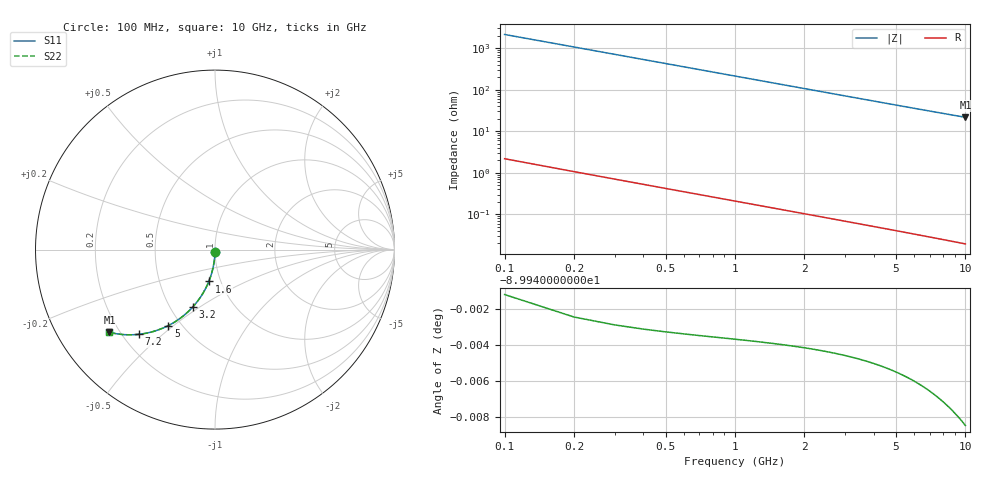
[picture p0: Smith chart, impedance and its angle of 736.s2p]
# Hz S RI R 50.00
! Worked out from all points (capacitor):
!   100 points, 100 MHz to 10 GHz, reference 50 ohm
!   read as one part in shunt: C = 749 fF near 100 MHz
!   lowest |Z| = 21.6 ohm at 10 GHz (marker M1)
!   S11 on the Smith chart (normalised r, x): 100 MHz: 1.00, -0.02; 1.6 GHz: 0.88, -0.32; 3.2 GHz: 0.64, -0.47; 5 GHz: 0.43, -0.48; 7.2 GHz: 0.27, -0.42; 10 GHz: 0.16, -0.34
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1e8  -8.17e-05 -0.0115  0.9998 -0.0121  0.9998 -0.0121  -8.17e-05 -0.0115
2e8  -0.000508 -0.0229  0.9994 -0.0241  0.9994 -0.0241  -0.000508 -0.0229
3e8  -0.00121 -0.0344  0.9987 -0.0361  0.9987 -0.0361  -0.00121 -0.0344
4e8  -0.00219 -0.0458  0.9977 -0.0481  0.9977 -0.0481  -0.00219 -0.0458
5e8  -0.00344 -0.0572  0.9964 -0.0601  0.9964 -0.0601  -0.00344 -0.0572
6e8  -0.00496 -0.0685  0.9949 -0.072  0.9949 -0.072  -0.00496 -0.0685
7e8  -0.00675 -0.0798  0.9931 -0.0839  0.9931 -0.0839  -0.00675 -0.0798
9e8  -0.0111 -0.1021  0.9887 -0.1074  0.9887 -0.1074  -0.0111 -0.1021
1.2e9  -0.0196 -0.1349  0.9802 -0.142  0.9802 -0.142  -0.0196 -0.1349
1.6e9  -0.0344 -0.1772  0.9654 -0.1867  0.9654 -0.1867  -0.0344 -0.1772
1.8e9  -0.0431 -0.1975  0.9567 -0.2082  0.9567 -0.2082  -0.0431 -0.1975
2.4e9  -0.0742 -0.2547  0.9255 -0.2689  0.9255 -0.2689  -0.0742 -0.2547
3.2e9  -0.1249 -0.3208  0.8747 -0.3398  0.8747 -0.3398  -0.1249 -0.3208
3.4e9  -0.1389 -0.3354  0.8608 -0.3556  0.8608 -0.3556  -0.1389 -0.3354
4.2e9  -0.1978 -0.3855  0.8017 -0.4105  0.8017 -0.4105  -0.1978 -0.3855
5e9  -0.2594 -0.423  0.74 -0.4529  0.74 -0.4529  -0.2594 -0.423
5.1e9  -0.2672 -0.4269  0.7322 -0.4574  0.7322 -0.4574  -0.2672 -0.4269
5.9e9  -0.3286 -0.4516  0.6707 -0.487  0.6707 -0.487  -0.3286 -0.4516
6.7e9  -0.3876 -0.4666  0.6114 -0.507  0.6114 -0.507  -0.3876 -0.4666
7.2e9  -0.4227 -0.4718  0.5762 -0.5153  0.5762 -0.5153  -0.4227 -0.4718
8.4e9  -0.5004 -0.474  0.4981 -0.525  0.4981 -0.525  -0.5004 -0.474
1e10  -0.5884 -0.4608  0.4095 -0.522  0.4095 -0.522  -0.5884 -0.4608
